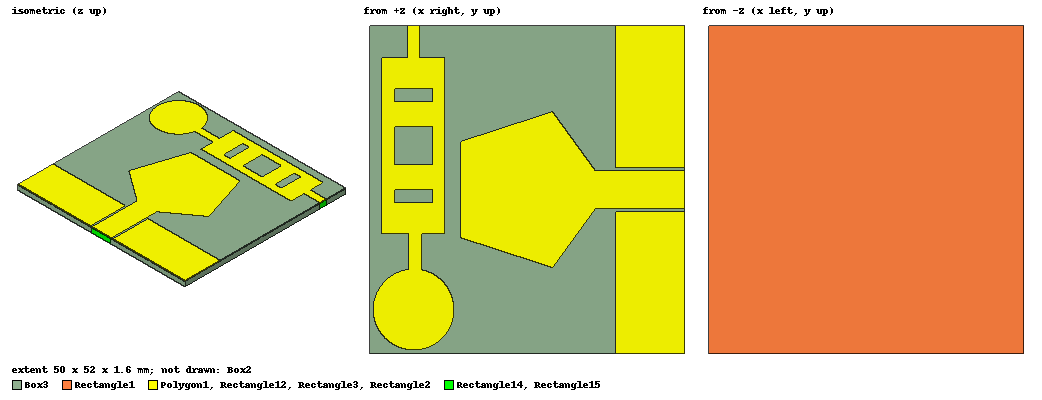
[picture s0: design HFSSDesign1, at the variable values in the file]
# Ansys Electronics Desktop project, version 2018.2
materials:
  vacuum: permittivity=1
  FR4_epoxy: permittivity=4.4 dielectric_loss_tangent=0.02
  air: permittivity=1.0006 permeability=1.0000004

design HFSSDesign1 (HFSS, DrivenModal, model units mm)
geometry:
  Rectangle1 = rectangle(corner=(0mm, 0mm, 0mm), x_size=50mm, y_size=52mm)
  Rectangle2 = rectangle(corner=(50mm, 0mm, 1.6mm), x_size=-11mm, y_size=22.5mm)
  Rectangle3 = rectangle(corner=(39mm, 29.5mm, 1.6mm), x_size=11mm, y_size=22.5mm)
  Rectangle4 = rectangle(corner=(50mm, 23mm, 1.6mm), x_size=-15mm, y_size=6mm)
  Polygon1 = regular_polygon(axis=Z, centre=(25mm, 26mm, 1.6mm), first_corner=(38mm, 26mm, 1.6mm), sides=5)
  Polygon1.unite(Rectangle4)
  point Point1 = (10mm, 10mm, 0mm)
  Rectangle8 = rectangle(corner=(4mm, 30mm, 1.6mm), x_size=6mm, y_size=6mm)
  Rectangle9 = rectangle(corner=(4mm, 24mm, 1.6mm), x_size=6mm, y_size=2mm)
  Rectangle10 = rectangle(corner=(4mm, 40mm, 1.6mm), x_size=6mm, y_size=2mm)
  Rectangle11 = rectangle(corner=(2mm, 19mm, 1.6mm), x_size=10mm, y_size=28mm)
  Rectangle12 = rectangle(corner=(6.25mm, 12.25mm, 1.6mm), x_size=2mm, y_size=7mm)
  Rectangle13 = rectangle(corner=(6mm, 44mm, 1.6mm), x_size=2mm, y_size=8mm)
  Rectangle12.unite(Rectangle11, Rectangle13)
  Rectangle12.subtract(Rectangle10, Rectangle8, Rectangle9)
  Circle1 = circle(normal=Z, centre=(7mm, 7mm, 1.6mm), radius=6.4031242mm)
  Rectangle12.unite(Circle1)
  Rectangle14 = rectangle(corner=(50mm, 23mm, 1.6mm), y_size=6mm, z_size=-1.6mm)
  Rectangle15 = rectangle(corner=(8mm, 52mm, 1.6mm), z_size=-1.6mm, x_size=-2mm)
  Box2 [air] = box(corner=(-10mm, -8mm, -12mm), size=(70mm, 66mm, 26mm))
  Box3 [FR4_epoxy] = box(corner=(0mm, 0mm, 0mm), size=(50mm, 52mm, 1.6mm))
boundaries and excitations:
  Rad1: Radiation Objects=Box2
  PerfE1: Perfect E Objects=[Polygon1, Rectangle1, Rectangle2, Rectangle3, Rectangle12]
  1: Lumped Port Objects=Rectangle14 Modes{Mode1{IntLine{middle of Rectangle14.edge(z opposite corner) -> middle of Rectangle14.edge(z at corner)} CharImp=Zpi}} Impedance=50ohm
  2: Lumped Port Objects=Rectangle15 Modes{Mode1{IntLine{middle of Rectangle15.edge(z opposite corner) -> middle of Rectangle15.edge(z at corner)} CharImp=Zpi}} Impedance=50ohm
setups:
  Setup1: HfssDriven AdaptMultipleFreqs MultipleAdaptiveFreqsSetup{Broadband{Low=3GHz High=6GHz}} MaxDeltaS=0.02 MaximumPasses=6 MinimumPasses=1 MinimumConvergedPasses=1 PercentRefinement=30 BasisOrder=1 PortAccuracy=2
    sweep Sweep: 3GHz to 6GHz, 100 points; Type=Fast SaveFields
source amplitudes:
  1:1: 1W 0deg
  2:1: 0W 0deg
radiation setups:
  Infinite Sphere1: Infinite Sphere Theta=0deg..360deg step 3deg Phi=0deg..180deg step 180deg
  Infinite Sphere2: Infinite Sphere Theta=-180deg..180deg step 10deg Phi=0deg..180deg step 2deg
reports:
  S Parameter Plot 1: dB(S(1,1)) vs Freq on Setup1 : Sweep
  VSWR Plot 1: VSWR(1) vs Freq on Setup1 : Sweep
  Gain Plot 4: dB(GainTotal) vs Theta on Setup1 : LastAdaptive, Infinite Sphere1 [Phi=all Freq=4.5GHz]
  rE Plot 3: rETotal vs Phi, Theta on Setup1 : LastAdaptive, Infinite Sphere2 [Freq=4.5GHz]
  Gain Plot 5: dB(GainTotal) vs Theta on Setup1 : LastAdaptive, Infinite Sphere1 [Phi=all Freq=4.5GHz]
